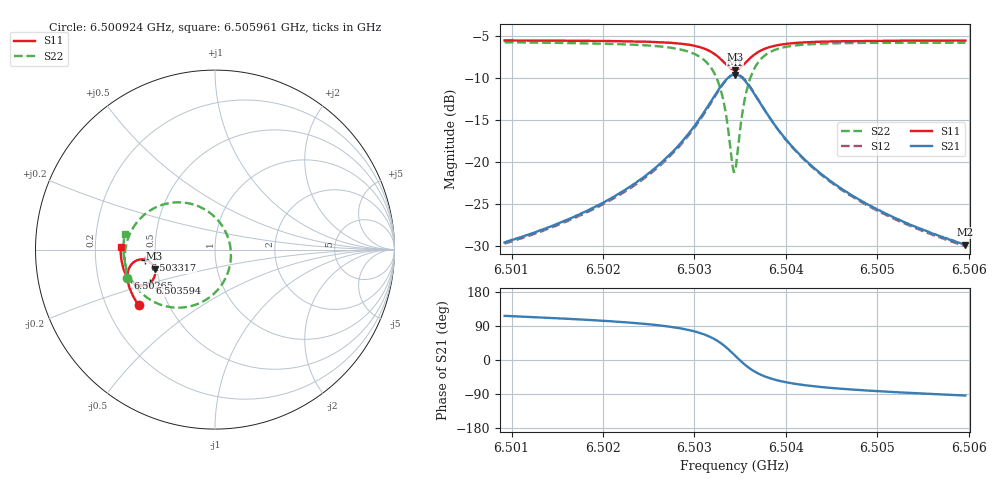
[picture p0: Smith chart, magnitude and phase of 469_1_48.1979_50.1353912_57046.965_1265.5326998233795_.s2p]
#  HZ  S  RI  R  50.00
! Rohde & Schwarz Vector Network Analyzer
! Rohde-Schwarz,ZNB20-2Port,1311601062101988,3.16
! Created: UTC 3/20/2024, 11:57:04 AM
! freq[Hz]  re:S11  im:S11  re:S21  im:S21  re:S12  im:S12  re:S22  im:S22
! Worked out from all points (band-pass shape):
!   401 points, 6.500924 GHz to 6.505961 GHz, reference 50 ohm
!   highest |S21| = -9.61 dB at 6.503443 GHz (marker M1); lowest = -29.8 dB at 6.505961 GHz (marker M2)
!   |S21| within 3 dB of the highest: 6.503192 GHz to 6.503695 GHz (503.7 kHz wide, 0.00775 % of centre)
!   lowest |S11| = -9.1 dB at 6.503443 GHz (marker M3), VSWR 2.09, Z = 24.4 - j5.87 ohm
!   |S11| at or under -10 dB: nowhere
!   |S22| runs from -21.2 to -5.8 dB; largest |S21 - S12| = 0.012
!   S11 on the Smith chart (normalised r, x): 6.500924 GHz: 0.34, -0.29; 6.50265 GHz: 0.33, -0.14; 6.503317 GHz: 0.44, -0.06; 6.503594 GHz: 0.44, -0.20; 6.505961 GHz: 0.31, +0.01
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6.5009244e9  -0.4257 -0.3098  -0.0148 0.0299  -0.0132 0.0301  -0.4886 -0.1575
6.5017681e9  -0.4621 -0.2476  -0.0143 0.0477  -0.0118 0.0472  -0.5023 -0.0682
6.5022592e9  -0.4792 -0.2039  -0.0111 0.0685  -0.00797 0.0673  -0.4989 0.00193
6.5026118e9  -0.4874 -0.1647  -0.00236 0.0966  0.00141 0.0942  -0.4804 0.0728
6.5026496e9  -0.4877 -0.1597  -0.000583 0.1007  0.00314 0.0981  -0.4764 0.0821
6.5029266e9  -0.4837 -0.1169  0.0259 0.1431  0.0299 0.1387  -0.421 0.168
6.5031155e9  -0.4623 -0.0787  0.0799 0.1853  0.0828 0.179  -0.3179 0.2407
6.5032289e9  -0.4299 -0.0581  0.1492 0.203  0.1503 0.1964  -0.1936 0.2634
6.503317e9  -0.3893 -0.0564  0.2287 0.187  0.2294 0.1816  -0.056 0.2233
6.5033548e9  -0.37 -0.0641  0.2653 0.1639  0.2663 0.1591  0.00428 0.1764
6.5034178e9  -0.343 -0.0908  0.3132 0.0999  0.3161 0.0946  0.0769 0.0532
6.5034429e9  -0.3365 -0.1056  0.3236 0.0674  0.3271 0.0613  0.088 -0.00713
6.5034681e9  -0.3336 -0.1213  0.3273 0.0336  0.331 0.0262  0.0863 -0.069
6.5035311e9  -0.3407 -0.1588  0.3093 -0.0447  0.3116 -0.0554  0.0308 -0.2052
6.503594e9  -0.362 -0.185  0.2662 -0.0992  0.2651 -0.1111  -0.0663 -0.2887
6.5036948e9  -0.4019 -0.2005  0.191 -0.1357  0.1856 -0.1457  -0.2173 -0.3234
6.5038585e9  -0.4482 -0.1909  0.1088 -0.1326  0.1017 -0.1379  -0.3652 -0.2766
6.5040348e9  -0.4756 -0.1694  0.0642 -0.1124  0.0578 -0.1148  -0.4378 -0.2116
6.5042866e9  -0.4964 -0.1393  0.0341 -0.0879  0.0292 -0.0886  -0.4813 -0.1393
6.5046266e9  -0.5108 -0.1038  0.0163 -0.0664  0.0127 -0.0662  -0.5026 -0.0706
6.5051303e9  -0.5212 -0.0569  0.00516 -0.0481  0.00272 -0.0474  -0.5102 0.0014
6.5059614e9  -0.5261 0.0133  -0.00216 -0.0324  -0.00351 -0.0315  -0.5023 0.0891
